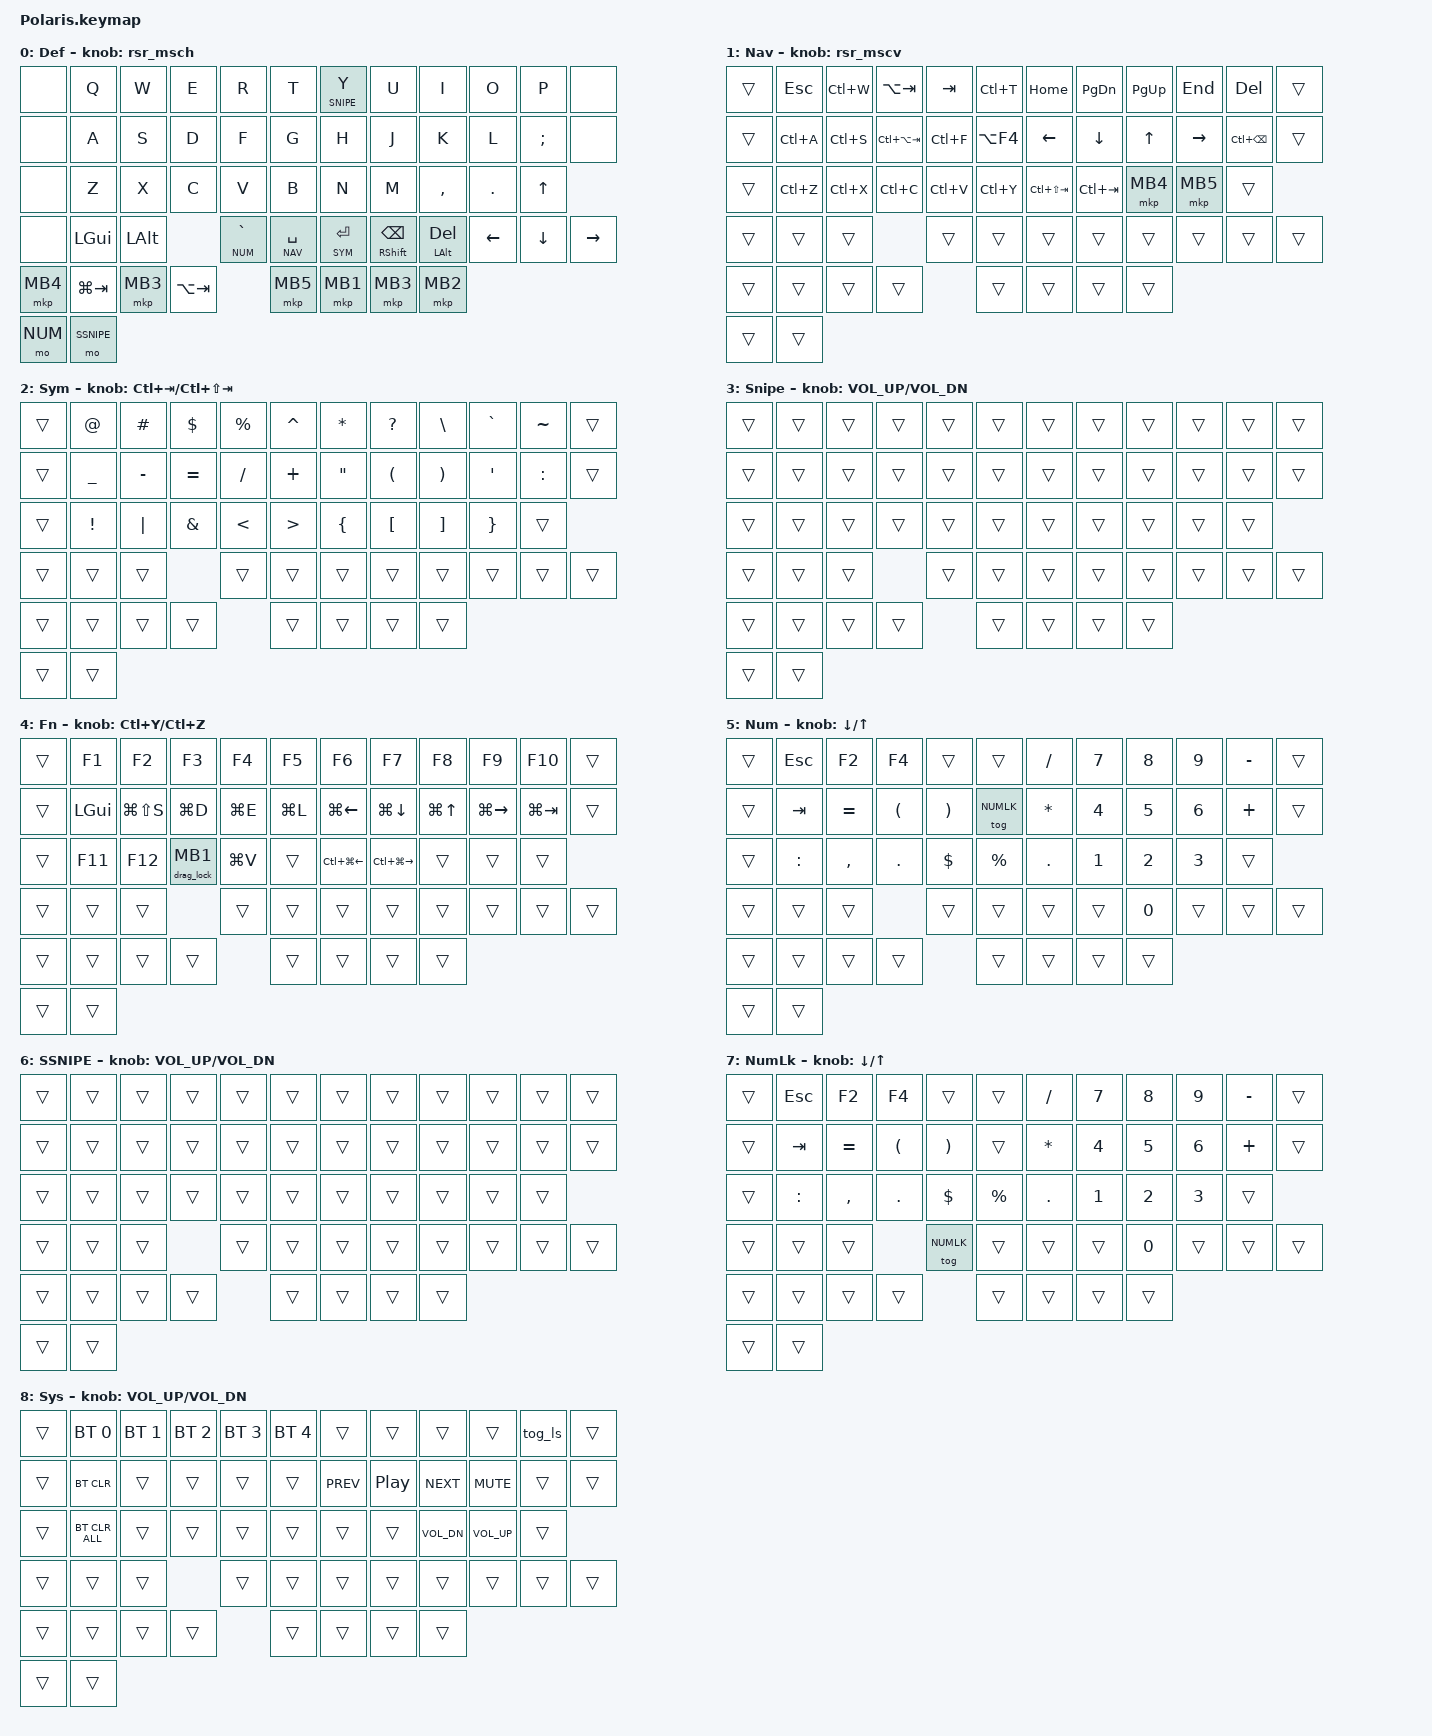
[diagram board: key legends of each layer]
// #include <layout_shift.dtsi>

#include <behaviors.dtsi>
#include <dt-bindings/zmk/bt.h>
#include <dt-bindings/zmk/keys.h>
#include <dt-bindings/zmk/pointing.h>
#include "layout_shift.dtsi"

// 小指で外側の列（Tab/Esc/Shift/Ctrl/BS/Enter/矢印）を押さなくても済むように、
// 修飾キー・Space・Enter・BS・半角/全角・レイヤー切替を親指キーに集約した配置。
// Windows の日本語(JIS)配列で使う前提。記号は US 名で書き、layout shift で JIS に変換する
// （初回だけ Fn レイヤーの &tog_ls を押して有効化。状態は再起動後も保持される）。

/ {
    behaviors {
        // Keep the original key_press behavior for ZMK core components

        original_key_press: original_key_press {
            compatible = "zmk,behavior-key-press";
            #binding-cells = <1>;
            label = "KEY_PRESS";
        };

        // Override the existing &kp behavior to use our custom implementation

        kp: key_press {
            compatible = "zmk,behavior-layout-shift-key-press";
            #binding-cells = <1>;
            label = "LAYOUT_SHIFT_KEY_PRESS";
        };

        // 親指の layer-tap。直前 125ms 以内に他のキーを打っていたら即タップ扱いにして、
        // 速く打ったときに Space/Enter が誤ってレイヤー切替になるのを防ぐ
        lt_th: lt_thumb {
            compatible = "zmk,behavior-hold-tap";
            #binding-cells = <2>;
            flavor = "balanced";
            tapping-term-ms = <200>;
            quick-tap-ms = <175>;
            require-prior-idle-ms = <125>;
            bindings = <&mo>, <&kp>;
        };

        // 親指の mod-tap（Shift/BS）。続けて押し直すと BS のキーリピートになる
        mt_th: mt_thumb {
            compatible = "zmk,behavior-hold-tap";
            #binding-cells = <2>;
            flavor = "balanced";
            tapping-term-ms = <200>;
            quick-tap-ms = <175>;
            bindings = <&kp>, <&kp>;
        };

        // ホームポジションの修飾キー（左手 D/F、右手 J/K）。長押しで Ctrl/Shift、単押しは文字。
        // - 直前 150ms 以内に他のキーを打っていたら即文字にする（速く打っている最中の誤爆防止）
        // - 同じ手のキーを一緒に押したときは文字のまま（修飾キーは反対の手か親指と組み合わせる）

        // 長押し テンキー / 単押し 半角全角。
        // 半角/全角は JIS の GRAVE 位置なので、layout shift の変換を通さない original_key_press で送る
        lt_ime: lt_ime {
            compatible = "zmk,behavior-hold-tap";
            #binding-cells = <2>;
            flavor = "balanced";
            tapping-term-ms = <200>;
            quick-tap-ms = <175>;
            bindings = <&mo>, <&original_key_press>;
        };

        // 0.3 秒以上押したときだけ送るキー（Alt+F4 などの誤爆防止）。短く押すと何も起きない

        // ドラッグ固定: 押すと左クリックを押しっぱなしにする。ボールで動かして、クリックで離す
        // （1 分たつと自動で離す）
        drag_lock: drag_lock {
            compatible = "zmk,behavior-sticky-key";
            #binding-cells = <1>;
            release-after-ms = <60000>;
            bindings = <&mkp>;
        };

        // 括弧のペアを入力して、カーソルを内側に戻す。IME オン時の [] は「」になる
        pair_paren: pair_paren {
            compatible = "zmk,behavior-macro";
            #binding-cells = <0>;
            bindings = <&macro_tap &kp LPAR &kp RPAR &kp LEFT>;
        };
        pair_bkt: pair_bkt {
            compatible = "zmk,behavior-macro";
            #binding-cells = <0>;
            bindings = <&macro_tap &kp LBKT &kp RBKT &kp LEFT>;
        };
        pair_brc: pair_brc {
            compatible = "zmk,behavior-macro";
            #binding-cells = <0>;
            bindings = <&macro_tap &kp LBRC &kp RBRC &kp LEFT>;
        };

        // 中央の 5 方向キー用。長押しでレイヤー、単押しでキー/マウスボタン

        rsr_vol: rsr_vol {
            compatible = "zmk,behavior-runtime-sensor-rotate";
            #sensor-binding-cells = <0>;
            tap-ms = <5>;
            cw-binding = <&kp C_VOL_UP>;
            ccw-binding = <&kp C_VOL_DN>;
        };

        // mouse scroll
        rsr_msch: rsr_msch {
			compatible = "zmk,behavior-runtime-sensor-rotate";
			#sensor-binding-cells = <0>;
			tap-ms = <5>;
			cw-binding = <&msc SCRL_DOWN>;
			ccw-binding = <&msc SCRL_UP>;
		};
        rsr_mscv: rsr_mscv {
			compatible = "zmk,behavior-runtime-sensor-rotate";
			#sensor-binding-cells = <0>;
			tap-ms = <5>;
			cw-binding = <&msc SCRL_RIGHT>;
			ccw-binding = <&msc SCRL_LEFT>;
		};
    };
};

// レイヤー番号 1/2/3 はトラックボールの動作と連動している（Polaris_L_interior.dtsi）
//   1: ボールでスクロール / 2: ボールで矢印キー / 3: ボールが低速（精密操作）
#define DEF 0
#define NAV 1
#define SYM 2
#define SNIPE 3
#define FN 4
#define NUM 5
#define SSNIPE 6
#define NUMLK 7
#define SYS 8

/ {

    combos {
        compatible = "zmk,combos";

        // J+K 同時押しで Esc（Vim の jk と同じ）。文字を打っている最中は発動しない
        combo_esc {
            bindings = <&kp ESC>;
            key-positions = <19 20>;
            timeout-ms = <40>;
            require-prior-idle-ms = <150>;
            layers = <DEF>;
        };

        // F+G 同時押しで Tab。補完などで文字の直後にも押せるよう、待ち時間は Esc より短め
        combo_tab {
            bindings = <&kp TAB>;
            key-positions = <16 17>;
            timeout-ms = <40>;
            require-prior-idle-ms = <100>;
            layers = <DEF>;
        };

        // Z+X 同時押しで Win（単押しでスタートメニュー、押したまま他のキーで Win+キー）
        combo_win {
            bindings = <&kp LGUI>;
            key-positions = <25 26>;
            timeout-ms = <40>;
            require-prior-idle-ms = <150>;
            layers = <DEF>;
        };

        // 右親指の Enter + BS 同時押しでテンキー固定のオン/オフ（右手だけで切り替えられる）
        combo_numlock {
            bindings = <&tog NUMLK>;
            key-positions = <40 41>;
            timeout-ms = <50>;
            layers = <DEF NUMLK>;
        };

        // S+D 同時押しで Caps Word（次のスペースまで大文字。MAX_VALUE のような定数名用）
        combo_caps_word {
            bindings = <&caps_word>;
            key-positions = <14 15>;
            timeout-ms = <40>;
            require-prior-idle-ms = <150>;
            layers = <DEF>;
        };

        // D+F 同時押しでワンショット Shift（離した後の 1 文字だけ大文字）
        combo_oneshot_shift {
            bindings = <&sk LSHFT>;
            key-positions = <15 16>;
            timeout-ms = <40>;
            require-prior-idle-ms = <150>;
            layers = <DEF>;
        };

        // 記号レイヤーで、開き括弧と閉じ括弧を同時押しするとペアで入力
        combo_pair_paren {
            bindings = <&pair_paren>;
            key-positions = <19 20>;
            timeout-ms = <40>;
            layers = <SYM>;
        };
        combo_pair_bkt {
            bindings = <&pair_bkt>;
            key-positions = <31 32>;
            timeout-ms = <40>;
            layers = <SYM>;
        };
        combo_pair_brc {
            bindings = <&pair_brc>;
            key-positions = <30 33>;
            timeout-ms = <40>;
            layers = <SYM>;
        };
    };

    keymap {
        compatible = "zmk,keymap";

        // 小指の横の一番外側の列は、誤打を避けるため全レイヤーで何も割り当てない（&none）
        // ただし右下の矢印キーのかたまり（↑←↓→）は残している
        // 中央の 5 方向キー: ←戻る / →進む / ↑単押しタスクビュー・長押し Sys /
        //                   ↓Alt+Tab / 中央 単押し中クリック・長押し Fn（他のレイヤーでも同じ動き）
        default_layer {
            label = "Def";
            bindings = <
&none         &kp Q     &kp W      &kp E     &kp R                 &kp T                    &lt SNIPE Y            &kp U                 &kp I                &kp O     &kp P     &none
&none         &kp A     &kp S      &kp D  &kp F      &kp G                    &kp H                  &kp J          &kp K         &kp L     &kp SEMI  &none
&none         &kp Z     &kp X      &kp C     &kp V                 &kp B                    &kp N                  &kp M                 &kp COMMA            &kp DOT   &kp UP
&none         &kp LGUI  &kp LALT             &lt_ime NUM GRAVE     &lt_th NAV SPACE         &lt_th SYM ENTER       &mt_th RSHFT BSPC     &mt_th LALT DEL      &kp LEFT  &kp DOWN  &kp RIGHT
&mkp MB4      &kp LG(TAB)    &mkp MB3    &kp LA(TAB)    &mkp MB5          &mkp MB1               &mkp MB3              &mkp MB2
&mo NUM       &mo SSNIPE
            >;

            sensor-bindings = <&rsr_msch>;
        };

        // 左親指(Space)長押し。ボールはスクロールになる
        // 右手: Vim 風の矢印（H← J↓ K↑ L→）・タブ切替・戻る/進む
        // 左手: 左手だけで押せるショートカット（Ctrl+W/T/A/S/F、元に戻す〜やり直し、Alt+Tab）
        //   Shift+矢印 は右親指の Shift、Ctrl+矢印 は先に D(Ctrl) を長押ししてから Space を押す
        //   G を 0.3 秒長押しで Alt+F4
        nav_layer {
            label = "Nav";
            bindings = <
&trans     &kp ESC     &kp LC(W)   &kp LA(TAB)        &kp TAB     &kp LC(T)              &kp HOME          &kp PG_DN     &kp PG_UP  &kp END    &kp DEL       &trans
&trans     &kp LC(A)   &kp LC(S)   &kp LC(LA(TAB))    &kp LC(F)   &kp LA(F4)    &kp LEFT          &kp DOWN      &kp UP     &kp RIGHT  &kp LC(BSPC)  &trans
&trans     &kp LC(Z)   &kp LC(X)   &kp LC(C)          &kp LC(V)   &kp LC(Y)              &kp LC(LS(TAB))   &kp LC(TAB)   &mkp MB4   &mkp MB5   &trans
&trans     &trans      &trans                        &trans      &trans               &trans         &trans          &trans     &trans     &trans   &trans
&trans     &trans      &trans           &trans       &trans                           &trans         &trans          &trans
&trans     &trans
            >;

            sensor-bindings = <&rsr_mscv>;
        };

        // 右親指(Enter)長押し。よく使う記号ほどホームポジションの段に置いている
        //   中段: _ - = / +  |  " ( ) ' :     下段: ! | & < >  |  { [ ] }
        symbol_layer {
            label = "Sym";
            bindings = <
&trans     &kp AT     &kp HASH   &kp DOLLAR  &kp PRCNT  &kp CARET          &kp STAR   &kp QMARK  &kp BSLH  &kp GRAVE  &kp TILDE  &trans
&trans     &kp UNDER  &kp MINUS  &kp EQUAL   &kp FSLH   &kp PLUS           &kp DQT    &kp LPAR   &kp RPAR  &kp SQT    &kp COLON  &trans
&trans     &kp EXCL   &kp PIPE   &kp AMPS    &kp LT     &kp GT             &kp LBRC   &kp LBKT   &kp RBKT  &kp RBRC   &trans
&trans     &trans     &trans               &trans      &trans             &trans     &trans    &trans    &trans     &trans     &trans
&trans     &trans     &trans     &trans    &trans                         &trans     &trans    &trans
&trans     &trans
            >;

            // エンコーダー: ブラウザのタブ切替
            sensor-bindings = <&inc_dec_kp LC(TAB) LC(LS(TAB))>;
        };

        snipe_layer {
            label = "Snipe";
            bindings = <
&trans    &trans  &trans     &trans    &trans     &trans          &trans  &trans  &trans  &trans  &trans  &trans
&trans    &trans  &trans     &trans    &trans     &trans          &trans  &trans  &trans  &trans  &trans  &trans
&trans    &trans  &trans     &trans    &trans     &trans          &trans  &trans  &trans  &trans  &trans
&trans    &trans  &trans               &trans     &trans          &trans  &trans  &trans  &trans  &trans  &trans
&trans    &trans  &trans     &trans    &trans                     &trans  &trans  &trans
&trans     &trans
            >;

            sensor-bindings = <&inc_dec_kp C_VOL_UP C_VOL_DN>;
        };

        // 中央 5 方向キーの中央を長押し（親指 2 本の Space + Enter 同時長押しでも可）。
        // F キー・Windows の操作・ドラッグ固定
        //   右手 HJKL: ウィンドウを左/下/上/右に寄せる（Win+矢印）、N/M: 仮想デスクトップ切替
        fn_layer {
            label = "Fn";
            bindings = <
&trans     &kp F1      &kp F2          &kp F3         &kp F4       &kp F5            &kp F6           &kp F7           &kp F8      &kp F9       &kp F10      &trans
&trans     &kp LGUI    &kp LG(LS(S))   &kp LG(D)      &kp LG(E)    &kp LG(L)         &kp LG(LEFT)     &kp LG(DOWN)     &kp LG(UP)  &kp LG(RIGHT)  &kp LG(TAB)  &trans
&trans     &kp F11     &kp F12         &drag_lock MB1 &kp LG(V)    &trans            &kp LC(LG(LEFT)) &kp LC(LG(RIGHT)) &trans     &trans       &trans
&trans          &trans        &trans                      &trans        &trans            &trans      &trans      &trans        &trans        &trans   &trans
&trans          &trans        &trans        &trans        &trans                          &trans      &trans      &trans
&trans     &trans
            >;

            // エンコーダー: 元に戻す / やり直し
            sensor-bindings = <&inc_dec_kp LC(Y) LC(Z)>;
        };

        // 左親指の外側(半角全角)長押し。右手がテンキー、右親指の外側が 0、左手は表計算の補助
        // G でテンキーを固定（NUMLK レイヤーへ）
        num_layer {
            label = "Num";
            bindings = <
&trans     &kp ESC    &kp F2     &kp F4     &trans      &trans             &kp FSLH  &kp N7  &kp N8     &kp N9   &kp MINUS  &trans
&trans     &kp TAB    &kp EQUAL  &kp LPAR   &kp RPAR    &tog NUMLK         &kp STAR  &kp N4  &kp N5     &kp N6   &kp PLUS   &trans
&trans     &kp COLON  &kp COMMA  &kp DOT    &kp DOLLAR  &kp PRCNT          &kp DOT   &kp N1  &kp N2     &kp N3   &trans
&trans     &trans     &trans                &trans      &trans             &trans    &trans  &kp N0     &trans   &trans     &trans
&trans     &trans     &trans     &trans     &trans                         &trans    &trans  &trans
&trans     &trans
            >;

            // エンコーダー: 上下のセル移動（↓/↑）
            sensor-bindings = <&inc_dec_kp DOWN UP>;
        };

        SSNIPE_layer {
            label = "SSNIPE";
            bindings = <
&trans      &trans        &trans        &trans        &trans        &trans                &trans          &trans  &trans  &trans  &trans  &trans
&trans      &trans        &trans        &trans        &trans        &trans                &trans          &trans  &trans  &trans  &trans  &trans
&trans      &trans        &trans        &trans        &trans        &trans                &trans          &trans  &trans  &trans  &trans
&trans      &trans        &trans                      &trans        &trans                &trans          &trans  &trans  &trans  &trans  &trans
&trans      &trans        &trans        &trans        &trans                              &trans          &trans  &trans
&trans     &trans
            >;

            sensor-bindings = <&inc_dec_kp C_VOL_UP C_VOL_DN>;
        };

        // テンキー固定。num_layer と同じ並びで、左親指の外側か右親指の Enter + BS 同時押しで解除
        // （&mo と &tog を同じレイヤーに使うと &mo を離したときに消えるため、別レイヤーにしている）
        numlock_layer {
            label = "NumLk";
            bindings = <
&trans     &kp ESC    &kp F2     &kp F4     &trans      &trans             &kp FSLH  &kp N7  &kp N8     &kp N9   &kp MINUS  &trans
&trans     &kp TAB    &kp EQUAL  &kp LPAR   &kp RPAR    &trans             &kp STAR  &kp N4  &kp N5     &kp N6   &kp PLUS   &trans
&trans     &kp COLON  &kp COMMA  &kp DOT    &kp DOLLAR  &kp PRCNT          &kp DOT   &kp N1  &kp N2     &kp N3   &trans
&trans     &trans     &trans                &tog NUMLK  &trans             &trans    &trans  &kp N0     &trans   &trans     &trans
&trans     &trans     &trans     &trans     &trans                         &trans    &trans  &trans
&trans     &trans
            >;

            // エンコーダー: 上下のセル移動（↓/↑）
            sensor-bindings = <&inc_dec_kp DOWN UP>;
        };

        // 中央 5 方向キーの↑を長押し（左親指の外側 + 右親指 Enter の同時長押しでも可）。
        // Bluetooth・メディア・JIS 変換の切替
        sys_layer {
            label = "Sys";
            bindings = <
&trans          &bt BT_SEL 0  &bt BT_SEL 1  &bt BT_SEL 2  &bt BT_SEL 3  &bt BT_SEL 4      &trans        &trans    &trans        &trans        &tog_ls  &trans
&trans          &bt BT_CLR    &trans        &trans        &trans        &trans            &kp C_PREV    &kp C_PP  &kp C_NEXT    &kp C_MUTE    &trans   &trans
&trans          &bt BT_CLR_ALL &trans       &trans        &trans        &trans            &trans        &trans    &kp C_VOL_DN  &kp C_VOL_UP  &trans
&trans          &trans        &trans                      &trans        &trans            &trans        &trans    &trans        &trans        &trans   &trans
&trans          &trans        &trans        &trans        &trans                          &trans        &trans    &trans
&trans     &trans
            >;

            sensor-bindings = <&inc_dec_kp C_VOL_UP C_VOL_DN>;
        };
    };
};
